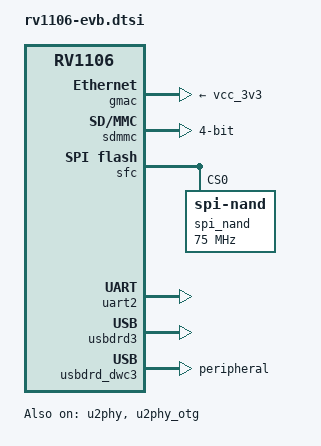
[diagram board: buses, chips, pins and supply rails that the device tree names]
// SPDX-License-Identifier: (GPL-2.0+ OR MIT)
/*
 * Copyright (c) 2022 Rockchip Electronics Co., Ltd.
 * Simplified U-Boot device tree for RV1106 EVB
 */

#include "rv1106.dtsi"

/ {
	chosen {
		stdout-path = "serial2:115200n8";
	};

	aliases {
		ethernet0 = &gmac;
		mmc0 = &emmc;
		mmc1 = &sdmmc;
		mmc2 = &sdio;
		serial2 = &uart2;
	};
};

&cpu0 {
	cpu-supply = <&vdd_arm>;
};

&gmac {
	clock_in_out = "input";
	phy-supply = <&vcc_3v3>;
	tx_delay = <0x30>;
	rx_delay = <0x10>;
	status = "okay";
};

&sdmmc {
	max-frequency = <50000000>;
	no-sdio;
	no-mmc;
	bus-width = <4>;
	cap-mmc-highspeed;
	cap-sd-highspeed;
	disable-wp;
	status = "okay";
};

&sfc {
	status = "okay";

	spi_nand: flash@0 {
		compatible = "spi-nand";
		reg = <0>;
		spi-max-frequency = <75000000>;
		spi-rx-bus-width = <4>;
		spi-tx-bus-width = <1>;
	};
};

&i2c3 {
	pinctrl-0 = <&i2c3m1_xfer>;
};

&i2c4 {
	pinctrl-0 = <&i2c4m2_xfer>;
};

&uart2 {
	status = "okay";
};

&uart3 {
	pinctrl-0 = <&uart3m1_xfer>;
};

&uart4 {
	pinctrl-0 = <&uart4m1_xfer>;
};

&u2phy {
	status = "okay";
};

&u2phy_otg {
	status = "okay";
};

&usbdrd3 {
	status = "okay";
};

&usbdrd_dwc3 {
	dr_mode = "peripheral";
	extcon = <&u2phy>;
	status = "okay";
};
